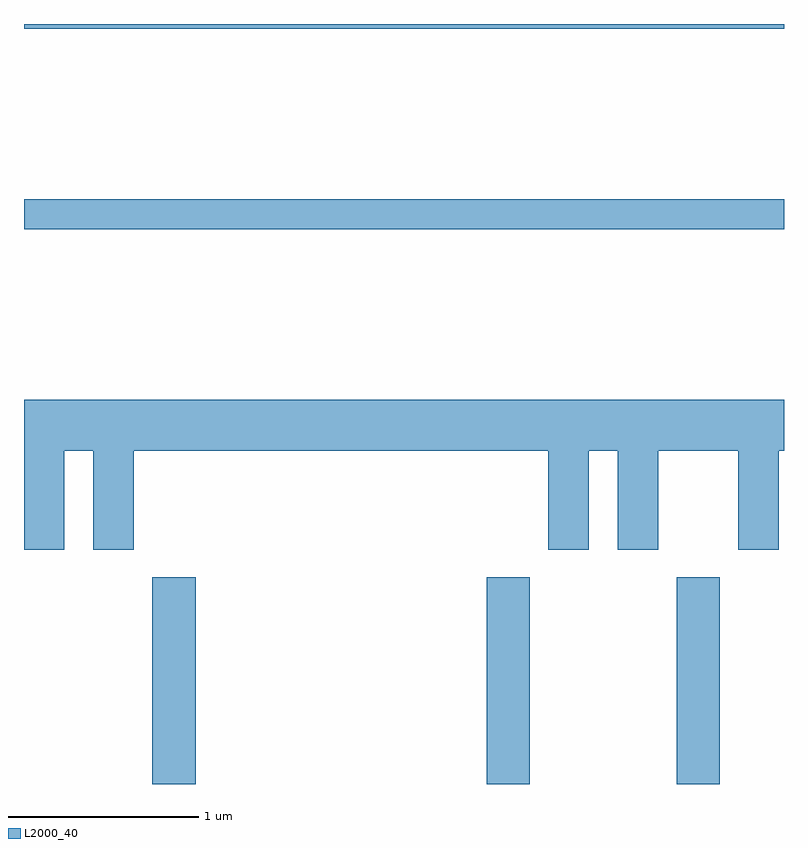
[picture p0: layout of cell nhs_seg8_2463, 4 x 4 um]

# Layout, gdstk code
import gdstk
lib = gdstk.Library(unit=1e-6, precision=1e-09)
def R(c, l, rs):  # rectangles x0, y0, x1, y1
    for r in rs: c.add(gdstk.rectangle(r[:2], r[2:], *l))
def P(c, l, *ps):  # polygons
    for p in ps: c.add(gdstk.Polygon(p, *l))
L2000_40 = (2000, 40)

nhs_seg8_2463 = lib.new_cell('nhs_seg8_2463')
R(nhs_seg8_2463, L2000_40, [(258.286,1932.342,258.514,1933.429), (260.046,1932.342,260.274,1933.429), (261.046,1932.342,261.274,1933.429), (257.611,1935.261,261.611,1935.419), (257.611,1936.316,261.611,1936.342)])
P(nhs_seg8_2463, L2000_40, [(257.824,1934.096),(257.976,1934.096),(257.976,1933.576),(258.189,1933.576),(258.189,1934.096),(260.371,1934.096),(260.371,1933.576),(260.584,1933.576),(260.584,1934.096),(260.736,1934.096),(260.736,1933.576),(260.949,1933.576),(260.949,1934.096),(261.371,1934.096),(261.371,1933.576),(261.584,1933.576),(261.584,1934.096),(261.611,1934.096),(261.611,1934.364),(257.611,1934.364),(257.611,1933.576),(257.824,1933.576)])

lib.write_gds('nhs_seg8_2463.gds')
